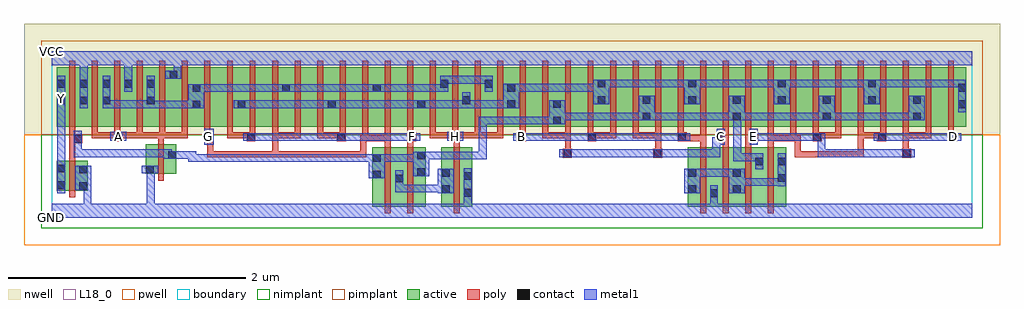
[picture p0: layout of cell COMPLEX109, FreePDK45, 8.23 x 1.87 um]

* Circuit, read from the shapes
.subckt COMPLEX109 A B C D E F G GND H VCC Y
M1 GND n1 Y VSUBS nfet w=0.25u l=0.05u
M2 n1 A GND VSUBS nfet w=0.25u l=0.05u
M3 n2 G n1 VSUBS nfet w=0.5u l=0.05u
M4 n1 F n2 VSUBS nfet w=0.5u l=0.05u
M5 GND H n2 VSUBS nfet w=0.5u l=0.05u
M6 GND B n3 VSUBS nfet w=0.5u l=0.05u
M7 n3 C GND VSUBS nfet w=0.5u l=0.05u
M8 n1 E n3 VSUBS nfet w=0.5u l=0.05u
M9 n3 D n1 VSUBS nfet w=0.5u l=0.05u
M10 VCC n1 Y n4 pfet w=0.5u l=0.05u
M11 n5 A VCC n4 pfet w=0.5u l=0.05u m=5
M12 n6 G n5 n4 pfet w=0.5u l=0.05u
M13 n7 F n6 n4 pfet w=0.5u l=0.05u
M14 n8 F n7 n4 pfet w=0.5u l=0.05u
M15 n5 G n8 n4 pfet w=0.5u l=0.05u
M16 n9 G n5 n4 pfet w=0.5u l=0.05u
M17 n7 F n9 n4 pfet w=0.5u l=0.05u
M18 n10 F n7 n4 pfet w=0.5u l=0.05u
M19 n5 G n10 n4 pfet w=0.5u l=0.05u
M20 n11 G n5 n4 pfet w=0.5u l=0.05u
M21 n7 F n11 n4 pfet w=0.5u l=0.05u
M22 n5 H n7 n4 pfet w=0.5u l=0.05u m=4
M23 n12 B n7 n4 pfet w=0.5u l=0.05u
M24 n1 C n12 n4 pfet w=0.5u l=0.05u
M25 n13 C n1 n4 pfet w=0.5u l=0.05u
M26 n7 B n13 n4 pfet w=0.5u l=0.05u
M27 n14 B n7 n4 pfet w=0.5u l=0.05u
M28 n1 C n14 n4 pfet w=0.5u l=0.05u
M29 n15 C n1 n4 pfet w=0.5u l=0.05u
M30 n7 B n15 n4 pfet w=0.5u l=0.05u
M31 n16 B n7 n4 pfet w=0.5u l=0.05u
M32 n1 C n16 n4 pfet w=0.5u l=0.05u
M33 n17 E n1 n4 pfet w=0.5u l=0.05u
M34 n7 D n17 n4 pfet w=0.5u l=0.05u
M35 n18 D n7 n4 pfet w=0.5u l=0.05u
M36 n1 E n18 n4 pfet w=0.5u l=0.05u
M37 n19 E n1 n4 pfet w=0.5u l=0.05u
M38 n7 D n19 n4 pfet w=0.5u l=0.05u
M39 n20 D n7 n4 pfet w=0.5u l=0.05u
M40 n1 E n20 n4 pfet w=0.5u l=0.05u
M41 n21 E n1 n4 pfet w=0.5u l=0.05u
M42 n7 D n21 n4 pfet w=0.5u l=0.05u
.ends

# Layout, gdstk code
import gdstk
lib = gdstk.Library(unit=1e-6, precision=1e-09)
def R(c, l, rs):  # rectangles x0, y0, x1, y1
    for r in rs: c.add(gdstk.rectangle(r[:2], r[2:], *l))
def A(c, l, x, y, w, h, nx, ny, dx, dy):  # array of equal rectangles
    R(c, l, [(x+i*dx, y+j*dy, x+i*dx+w, y+j*dy+h) for i in range(nx) for j in range(ny)])
active = (1, 0)
pwell = (2, 0)
nwell = (3, 0)
nimplant = (4, 0)
pimplant = (5, 0)
poly = (9, 0)
contact = (10, 0)
metal1 = (11, 0)
L18_0 = (18, 0)
boundary = (235, 0)

complex109 = lib.new_cell('COMPLEX109')
A(complex109, active, 5.547, 0.092, 0.265, 0.5, 3, 1, 0.19, 0)
A(complex109, active, 5.737, 0.145, 0.075, 0.447, 3, 1, 0.19, 0)
A(complex109, active, 4.977, 0.767, 0.075, 0.303, 4, 1, 0.76, 0)
A(complex109, active, 5.587, 0.767, 0.225, 0.5, 6, 1, 0.38, 0)
A(complex109, active, 5.737, 0.767, 0.23, 0.5, 5, 1, 0.38, 0)
A(complex109, active, 6.117, 0.767, 0.075, 0.433, 3, 1, 0.76, 0)
R(complex109, active, [(2.702,0.092,2.967,0.592), (2.892,0.092,3.152,0.592), (3.285,0.092,3.545,0.592), (5.362,0.092,5.622,0.592), (3.47,0.132,3.545,0.592), (5.547,0.132,5.622,0.592), (2.702,0.145,2.777,0.592), (2.892,0.145,2.967,0.592), (3.077,0.145,3.152,0.592), (3.285,0.145,3.36,0.592), (5.362,0.145,5.437,0.592), (0.042,0.227,0.302,0.477), (0.042,0.227,0.117,0.477), (0.227,0.227,0.302,0.477), (0.79,0.367,1.05,0.617), (0.79,0.367,0.865,0.617), (0.975,0.395,1.05,0.617), (0.042,0.767,0.307,1.267), (0.042,0.767,0.117,1.2), (0.232,0.767,0.497,1.267), (0.232,0.767,0.307,1.267), (0.422,0.767,0.682,1.267), (0.422,0.767,0.497,1.2), (0.607,0.767,0.872,1.267), (0.607,0.767,0.682,1.267), (0.797,0.767,1.062,1.267), (0.797,0.767,0.872,1.2), (0.987,0.767,1.257,1.267), (0.987,0.767,1.062,1.267), (1.182,0.767,1.257,1.2), (1.182,0.767,1.407,1.267), (1.407,0.767,1.637,1.267), (1.562,0.767,1.787,1.267), (1.562,0.767,1.637,1.07), (1.787,0.767,2.012,1.267), (1.937,0.767,2.012,1.2), (1.937,0.767,2.167,1.267), (2.167,0.767,2.397,1.267), (2.322,0.767,2.547,1.267), (2.322,0.767,2.397,1.07), (2.547,0.767,2.777,1.267), (2.702,0.767,2.777,1.2), (2.702,0.767,2.927,1.267), (2.927,0.767,3.152,1.267), (3.077,0.767,3.152,1.07), (3.077,0.767,3.347,1.267), (3.272,0.767,3.532,1.267), (3.457,0.767,3.722,1.267), (3.457,0.767,3.532,1.07), (3.647,0.767,3.912,1.267), (3.647,0.767,3.722,1.2), (3.837,0.767,3.912,1.2), (3.837,0.767,4.067,1.267), (4.067,0.767,4.297,1.267), (4.222,0.767,4.447,1.267), (4.222,0.767,4.297,1.07), (4.447,0.767,4.672,1.267), (4.597,0.767,4.672,1.2), (4.597,0.767,4.827,1.267), (4.827,0.767,5.052,1.267), (4.977,0.767,5.207,1.267), (5.207,0.767,5.437,1.267), (5.362,0.767,5.437,1.2), (5.362,0.767,5.587,1.267), (3.272,0.807,3.347,1.2)])
R(complex109, pwell, [(-0.235,-0.235,7.995,0.7)])
R(complex109, nwell, [(-0.235,0.7,7.995,1.635)])
R(complex109, nimplant, [(-0.09,-0.09,7.85,0.7)])
R(complex109, pimplant, [(-0.09,0.7,7.85,1.49)])
A(complex109, poly, 5.467, 0.037, 0.05, 0.61, 4, 1, 0.19, 0)
A(complex109, poly, 5.467, 0.597, 0.05, 0.095, 4, 1, 0.19, 0)
A(complex109, poly, 0.337, 0.667, 0.05, 0.095, 12, 1, 0.19, 0)
A(complex109, poly, 2.997, 0.667, 0.05, 0.095, 13, 1, 0.19, 0)
A(complex109, poly, 6.417, 0.667, 0.05, 0.095, 7, 1, 0.19, 0)
A(complex109, poly, 0.147, 0.712, 0.05, 0.61, 40, 1, 0.19, 0)
R(complex109, poly, [(2.807,0.037,2.857,0.647), (2.997,0.037,3.047,0.647), (3.39,0.037,3.44,0.647), (0.147,0.172,0.197,0.532), (0.895,0.312,0.945,0.672), (0.147,0.482,0.197,0.677), (4.31,0.505,4.385,0.58), (5.07,0.505,5.145,0.58), (7.17,0.505,7.245,0.58), (1.312,0.51,1.362,0.56), (1.312,0.51,1.362,0.56), (1.312,0.51,1.362,0.56), (1.312,0.51,1.362,0.56), (1.312,0.51,1.362,0.56), (1.312,0.51,1.362,0.692), (1.312,0.51,1.495,0.56), (1.445,0.51,1.495,0.56), (1.445,0.51,1.495,0.56), (1.445,0.51,1.495,0.56), (1.445,0.51,1.775,0.56), (1.725,0.51,1.775,0.56), (1.725,0.51,1.775,0.56), (1.725,0.51,1.775,0.56), (1.725,0.51,1.907,0.56), (1.857,0.51,1.907,0.56), (1.857,0.51,1.907,0.56), (1.857,0.51,1.907,0.56), (1.857,0.51,1.907,0.56), (1.857,0.51,1.907,0.56), (1.857,0.51,1.907,0.717), (1.857,0.51,2.09,0.56), (2.04,0.51,2.09,0.56), (2.04,0.51,2.09,0.56), (2.04,0.51,2.09,0.56), (2.04,0.51,2.222,0.56), (2.172,0.51,2.222,0.56), (2.172,0.51,2.42,0.56), (2.37,0.51,2.42,0.56), (2.37,0.51,2.42,0.56), (2.37,0.51,2.42,0.56), (2.37,0.51,2.652,0.56), (2.602,0.51,2.652,0.56), (2.602,0.51,2.652,0.56), (2.602,0.51,2.652,0.56), (2.602,0.51,2.652,0.692), (6.265,0.51,6.447,0.56), (6.265,0.51,6.315,0.692), (6.397,0.51,6.447,0.56), (6.397,0.51,6.447,0.56), (6.397,0.51,6.447,0.56), (6.397,0.51,6.715,0.56), (6.665,0.51,6.715,0.56), (6.665,0.51,6.847,0.56), (6.797,0.51,6.847,0.56), (6.797,0.51,6.847,0.56), (6.797,0.51,6.847,0.56), (6.797,0.51,6.847,0.717), (4.327,0.53,4.377,0.717), (5.087,0.53,5.137,0.717), (7.177,0.53,7.227,0.58), (7.177,0.53,7.227,0.58), (7.177,0.53,7.227,0.717), (2.807,0.597,2.857,0.692), (2.997,0.597,3.047,0.692), (3.39,0.597,3.44,0.692), (0.895,0.622,0.945,0.717), (0.147,0.627,0.255,0.702), (0.522,0.642,0.597,0.717), (1.287,0.642,1.362,0.717), (1.642,0.642,1.717,0.717), (2.402,0.642,2.477,0.717), (2.602,0.642,2.652,0.692), (2.602,0.642,2.652,0.692), (2.602,0.642,2.667,0.692), (2.617,0.642,2.857,0.692), (2.617,0.642,2.667,0.762), (2.807,0.642,2.857,0.692), (2.807,0.642,2.857,0.692), (2.807,0.642,2.857,0.692), (2.807,0.642,2.857,0.762), (2.997,0.642,3.072,0.717), (3.362,0.642,3.44,0.717), (3.922,0.642,3.997,0.717), (4.517,0.642,4.592,0.717), (5.277,0.642,5.352,0.717), (5.302,0.642,5.352,0.692), (5.302,0.642,5.352,0.692), (5.302,0.642,5.517,0.692), (5.467,0.642,5.517,0.692), (5.467,0.642,5.517,0.762), (5.605,0.642,5.707,0.717), (5.847,0.642,5.955,0.717), (6.037,0.642,6.087,0.692), (6.037,0.642,6.087,0.692), (6.037,0.642,6.087,0.692), (6.037,0.642,6.277,0.692), (6.037,0.642,6.087,0.762), (6.227,0.642,6.277,0.692), (6.227,0.642,6.277,0.692), (6.227,0.642,6.277,0.692), (6.227,0.642,6.277,0.692), (6.227,0.642,6.277,0.692), (6.227,0.642,6.315,0.692), (6.227,0.642,6.277,0.762), (6.417,0.642,6.492,0.717), (6.962,0.642,7.037,0.717), (7.557,0.642,7.632,0.717), (0.147,0.652,0.197,0.762), (0.337,0.667,0.387,0.717), (0.337,0.667,0.387,0.717), (0.337,0.667,0.387,0.717), (0.337,0.667,0.572,0.717), (0.547,0.667,0.597,0.717), (0.547,0.667,0.597,0.717), (0.547,0.667,0.767,0.717), (0.717,0.667,0.767,0.717), (0.717,0.667,0.767,0.717), (0.717,0.667,0.767,0.717), (0.717,0.667,0.945,0.717), (0.895,0.667,0.957,0.717), (0.907,0.667,0.957,0.717), (0.907,0.667,0.957,0.717), (0.907,0.667,1.147,0.717), (1.097,0.667,1.147,0.717), (1.477,0.667,1.527,0.717), (1.477,0.667,1.527,0.717), (1.477,0.667,1.527,0.717), (1.477,0.667,1.692,0.717), (1.857,0.667,1.907,0.717), (1.857,0.667,1.957,0.717), (1.907,0.667,1.957,0.717), (1.907,0.667,2.097,0.717), (2.047,0.667,2.097,0.717), (2.237,0.667,2.287,0.717), (2.237,0.667,2.287,0.717), (2.237,0.667,2.287,0.717), (2.237,0.667,2.452,0.717), (3.187,0.667,3.237,0.717), (3.187,0.667,3.237,0.717), (3.187,0.667,3.237,0.717), (3.187,0.667,3.412,0.717), (3.39,0.667,3.617,0.717), (3.567,0.667,3.617,0.717), (3.567,0.667,3.617,0.717), (3.567,0.667,3.617,0.717), (3.567,0.667,3.807,0.717), (3.757,0.667,3.807,0.717), (3.757,0.667,3.807,0.717), (3.757,0.667,3.807,0.717), (4.137,0.667,4.187,0.717), (4.137,0.667,4.377,0.717), (4.327,0.667,4.377,0.717), (4.327,0.667,4.377,0.717), (4.327,0.667,4.377,0.717), (4.327,0.667,4.377,0.717), (4.327,0.667,4.377,0.717), (4.542,0.667,4.757,0.717), (4.707,0.667,4.757,0.717), (4.707,0.667,4.757,0.717), (4.707,0.667,4.757,0.717), (4.897,0.667,4.947,0.717), (4.897,0.667,4.947,0.717), (4.897,0.667,4.947,0.717), (4.897,0.667,5.137,0.717), (5.087,0.667,5.137,0.717), (5.087,0.667,5.137,0.717), (5.087,0.667,5.137,0.717), (5.657,0.667,5.707,0.762), (5.847,0.667,5.897,0.762), (6.442,0.667,6.657,0.717), (6.607,0.667,6.657,0.717), (6.607,0.667,6.657,0.717), (6.607,0.667,6.657,0.717), (6.797,0.667,6.847,0.717), (6.797,0.667,6.847,0.717), (6.797,0.667,6.847,0.717), (6.797,0.667,7.012,0.717), (6.962,0.667,7.012,0.717), (6.962,0.667,7.012,0.717), (7.177,0.667,7.227,0.717), (7.177,0.667,7.417,0.717), (7.367,0.667,7.417,0.717), (7.367,0.667,7.417,0.717), (7.367,0.667,7.417,0.717)])
A(complex109, contact, 4.982, 0.82, 0.065, 0.065, 4, 2, 0.76, 0.14)
A(complex109, contact, 0.047, 0.955, 0.065, 0.065, 3, 2, 0.19, 0.14)
R(complex109, contact, [(5.552,0.172,5.617,0.237), (3.475,0.177,3.54,0.242), (3.29,0.205,3.355,0.27), (5.367,0.205,5.432,0.27), (5.742,0.205,5.807,0.27), (0.232,0.232,0.297,0.297), (0.047,0.24,0.112,0.305), (2.897,0.297,2.962,0.362), (6.122,0.3,6.187,0.365), (3.475,0.317,3.54,0.382), (2.707,0.33,2.772,0.395), (3.29,0.345,3.355,0.41), (5.367,0.345,5.432,0.41), (5.742,0.345,5.807,0.41), (3.082,0.35,3.147,0.415), (0.232,0.372,0.297,0.437), (0.795,0.372,0.86,0.437), (0.047,0.38,0.112,0.445), (5.932,0.44,5.997,0.505), (6.122,0.44,6.187,0.505), (2.707,0.47,2.772,0.535), (3.082,0.49,3.147,0.555), (0.98,0.495,1.045,0.56), (4.315,0.51,4.38,0.575), (5.075,0.51,5.14,0.575), (7.175,0.51,7.24,0.575), (0.185,0.632,0.25,0.697), (0.527,0.647,0.592,0.712), (1.292,0.647,1.357,0.712), (1.647,0.647,1.712,0.712), (2.407,0.647,2.472,0.712), (3.002,0.647,3.067,0.712), (3.367,0.647,3.432,0.712), (3.927,0.647,3.992,0.712), (4.522,0.647,4.587,0.712), (5.282,0.647,5.347,0.712), (5.61,0.647,5.675,0.712), (5.885,0.647,5.95,0.712), (6.422,0.647,6.487,0.712), (6.967,0.647,7.032,0.712), (7.562,0.647,7.627,0.712), (4.227,0.785,4.292,0.85), (1.187,0.92,1.252,0.985), (1.567,0.922,1.632,0.987), (2.327,0.922,2.392,0.987), (3.082,0.922,3.147,0.987), (3.842,0.922,3.907,0.987), (7.642,0.922,7.707,0.987), (4.227,0.925,4.292,0.99), (0.802,0.955,0.867,1.02), (3.462,0.957,3.527,1.022), (4.602,0.957,4.667,1.022), (5.367,0.957,5.432,1.022), (6.122,0.957,6.187,1.022), (6.882,0.957,6.947,1.022), (1.187,1.06,1.252,1.125), (1.942,1.06,2.007,1.125), (2.707,1.06,2.772,1.125), (3.842,1.062,3.907,1.127), (7.642,1.062,7.707,1.127), (0.612,1.095,0.677,1.16), (0.802,1.095,0.867,1.16), (3.277,1.095,3.342,1.16), (3.652,1.095,3.717,1.16), (4.602,1.097,4.667,1.162), (5.367,1.097,5.432,1.162), (6.122,1.097,6.187,1.162), (6.882,1.097,6.947,1.162), (0.992,1.172,1.057,1.237)])
A(complex109, metal1, 4.947, 0.82, 0.135, 0.205, 4, 1, 0.76, 0)
A(complex109, metal1, 0.047, 0.92, 0.065, 0.275, 3, 1, 0.19, 0)
R(complex109, metal1, [(0,0,7.76,0.115), (0.267,0.05,0.332,0.115), (0.267,0.05,0.332,0.115), (0.267,0.05,0.332,0.115), (0.267,0.05,0.332,0.115), (0.267,0.05,0.332,0.115), (0.267,0.05,0.332,0.115), (0.267,0.05,0.332,0.297), (0.802,0.05,0.867,0.115), (0.802,0.05,0.867,0.115), (0.802,0.05,0.867,0.115), (0.802,0.05,0.867,0.115), (0.802,0.05,0.867,0.437), (3.475,0.05,3.54,0.207), (5.552,0.05,5.617,0.202), (5.552,0.137,5.617,0.202), (5.552,0.137,5.617,0.202), (5.552,0.137,5.617,0.272), (3.475,0.142,3.54,0.207), (3.475,0.142,3.54,0.207), (3.475,0.142,3.54,0.417), (0.047,0.205,0.112,0.48), (3.255,0.205,3.39,0.41), (5.332,0.205,5.467,0.41), (5.707,0.205,5.842,0.41), (2.897,0.212,3.182,0.277), (2.897,0.212,2.962,0.327), (3.117,0.212,3.182,0.277), (3.117,0.212,3.25,0.277), (3.185,0.212,3.25,0.277), (3.185,0.212,3.32,0.277), (0.197,0.232,0.332,0.437), (2.897,0.262,2.962,0.327), (2.897,0.262,2.962,0.397), (6.122,0.265,6.187,0.54), (5.777,0.267,5.98,0.332), (5.915,0.267,5.98,0.332), (5.915,0.267,5.98,0.332), (5.915,0.267,5.98,0.332), (5.915,0.267,6.157,0.332), (6.092,0.267,6.157,0.332), (6.092,0.267,6.187,0.332), (2.672,0.33,2.807,0.535), (5.402,0.345,5.467,0.41), (5.402,0.345,5.467,0.41), (5.402,0.345,5.605,0.41), (5.54,0.345,5.605,0.41), (5.54,0.345,5.605,0.41), (5.54,0.345,5.605,0.41), (5.54,0.345,5.772,0.41), (3.047,0.35,3.182,0.555), (0.76,0.372,0.895,0.437), (0.802,0.372,0.867,0.437), (0.802,0.372,0.867,0.437), (5.932,0.405,5.997,0.54), (0.047,0.415,0.112,0.48), (0.047,0.415,0.112,0.48), (0.047,0.415,0.112,0.985), (1.152,0.47,1.217,0.535), (1.152,0.47,1.217,0.535), (1.152,0.47,1.217,0.535), (1.152,0.47,1.287,0.535), (1.152,0.47,1.217,0.56), (1.222,0.47,1.287,0.535), (1.222,0.47,1.46,0.535), (1.395,0.47,1.46,0.535), (1.395,0.47,1.46,0.535), (1.395,0.47,1.46,0.535), (1.395,0.47,1.667,0.535), (1.602,0.47,1.667,0.535), (1.602,0.47,1.805,0.535), (1.74,0.47,1.805,0.535), (1.74,0.47,1.805,0.535), (1.74,0.47,1.805,0.535), (1.74,0.47,1.945,0.535), (1.88,0.47,1.945,0.535), (1.88,0.47,1.945,0.535), (1.88,0.47,1.945,0.535), (1.88,0.47,2.082,0.535), (2.017,0.47,2.082,0.535), (2.017,0.47,2.22,0.535), (2.155,0.47,2.22,0.535), (2.155,0.47,2.22,0.535), (2.155,0.47,2.22,0.535), (2.155,0.47,2.357,0.535), (2.292,0.47,2.357,0.535), (2.292,0.47,2.357,0.535), (2.292,0.47,2.357,0.535), (2.292,0.47,2.575,0.535), (2.51,0.47,2.575,0.535), (2.51,0.47,2.645,0.535), (2.58,0.47,2.645,0.535), (2.58,0.47,2.737,0.535), (2.742,0.47,2.807,0.535), (2.742,0.47,2.807,0.535), (2.742,0.47,2.945,0.535), (2.88,0.47,2.945,0.535), (2.88,0.47,2.945,0.535), (2.88,0.47,2.945,0.535), (2.88,0.47,3.112,0.535), (5.747,0.475,5.812,0.54), (5.747,0.475,5.997,0.54), (5.747,0.475,5.812,0.885), (5.932,0.475,5.997,0.54), (5.932,0.475,5.997,0.54), (3.117,0.49,3.25,0.555), (3.185,0.49,3.25,0.555), (3.185,0.49,3.39,0.555), (3.325,0.49,3.39,0.555), (3.325,0.49,3.39,0.555), (3.325,0.49,3.39,0.555), (3.325,0.49,3.527,0.555), (3.462,0.49,3.527,0.555), (3.462,0.49,3.527,0.555), (3.462,0.49,3.527,0.555), (3.462,0.49,3.665,0.555), (3.6,0.49,3.665,0.555), (3.6,0.49,3.665,0.85), (0.945,0.495,1.01,0.56), (0.945,0.495,1.08,0.56), (0.945,0.495,1.01,0.575), (1.015,0.495,1.15,0.56), (1.085,0.495,1.15,0.56), (1.085,0.495,1.217,0.56), (1.152,0.495,1.217,0.56), (0.185,0.51,0.25,0.575), (0.185,0.51,0.412,0.575), (0.185,0.51,0.25,0.662), (0.347,0.51,0.412,0.575), (0.347,0.51,0.412,0.575), (0.347,0.51,0.412,0.575), (0.347,0.51,0.55,0.575), (0.485,0.51,0.55,0.575), (0.485,0.51,0.687,0.575), (0.622,0.51,0.687,0.575), (0.622,0.51,0.687,0.575), (0.622,0.51,0.687,0.575), (0.622,0.51,0.825,0.575), (0.76,0.51,0.825,0.575), (0.76,0.51,1.01,0.575), (4.28,0.51,4.415,0.575), (4.35,0.51,4.485,0.575), (4.42,0.51,4.485,0.575), (4.42,0.51,4.622,0.575), (4.557,0.51,4.622,0.575), (4.557,0.51,4.622,0.575), (4.557,0.51,4.622,0.575), (4.557,0.51,4.77,0.575), (4.705,0.51,4.77,0.575), (4.705,0.51,4.84,0.575), (4.775,0.51,4.84,0.575), (4.775,0.51,4.907,0.575), (4.842,0.51,4.907,0.575), (4.842,0.51,5.105,0.575), (5.04,0.51,5.105,0.575), (5.04,0.51,5.105,0.575), (5.04,0.51,5.175,0.575), (5.11,0.51,5.26,0.575), (5.195,0.51,5.26,0.575), (5.195,0.51,5.26,0.575), (5.195,0.51,5.26,0.575), (5.195,0.51,5.312,0.575), (5.247,0.51,5.312,0.575), (5.247,0.51,5.467,0.575), (5.402,0.51,5.467,0.575), (5.402,0.51,5.467,0.575), (5.402,0.51,5.467,0.575), (5.402,0.51,5.635,0.575), (5.57,0.51,5.635,0.575), (5.57,0.51,5.635,0.677), (6.457,0.51,6.522,0.575), (6.457,0.51,6.67,0.575), (6.457,0.51,6.522,0.712), (6.605,0.51,6.67,0.575), (6.605,0.51,6.74,0.575), (6.675,0.51,6.74,0.575), (6.675,0.51,6.845,0.575), (6.78,0.51,6.845,0.575), (6.78,0.51,7.017,0.575), (6.952,0.51,7.017,0.575), (6.952,0.51,7.017,0.575), (6.952,0.51,7.017,0.575), (6.952,0.51,7.017,0.575), (6.952,0.51,7.017,0.575), (6.952,0.51,7.155,0.575), (7.09,0.51,7.155,0.575), (7.09,0.51,7.205,0.575), (7.14,0.51,7.275,0.575), (0.185,0.597,0.25,0.662), (0.185,0.597,0.25,0.662), (0.185,0.597,0.25,0.732), (1.287,0.612,1.367,0.747), (5.57,0.612,5.635,0.677), (5.57,0.612,5.672,0.677), (5.607,0.612,5.675,0.747), (5.885,0.612,5.952,0.747), (0.492,0.647,0.627,0.725), (1.612,0.647,1.747,0.712), (1.682,0.647,1.805,0.712), (1.74,0.647,1.805,0.712), (1.74,0.647,1.942,0.712), (1.877,0.647,1.942,0.712), (1.877,0.647,2.082,0.712), (2.017,0.647,2.082,0.712), (2.017,0.647,2.082,0.712), (2.017,0.647,2.082,0.712), (2.017,0.647,2.22,0.712), (2.155,0.647,2.22,0.712), (2.155,0.647,2.22,0.712), (2.155,0.647,2.22,0.712), (2.155,0.647,2.437,0.712), (2.372,0.647,2.437,0.712), (2.372,0.647,2.437,0.712), (2.372,0.647,2.507,0.712), (2.442,0.647,2.6,0.712), (2.535,0.647,2.6,0.712), (2.535,0.647,2.645,0.712), (2.58,0.647,2.645,0.712), (2.58,0.647,2.782,0.712), (2.717,0.647,2.782,0.712), (2.717,0.647,2.782,0.712), (2.717,0.647,2.782,0.712), (2.717,0.647,2.945,0.712), (2.88,0.647,2.945,0.712), (2.88,0.647,3.032,0.712), (2.967,0.647,3.107,0.712), (3.332,0.647,3.467,0.725), (3.892,0.647,4.027,0.712), (3.962,0.647,4.08,0.712), (4.015,0.647,4.08,0.712), (4.015,0.647,4.19,0.712), (4.125,0.647,4.19,0.712), (4.125,0.647,4.327,0.712), (4.262,0.647,4.327,0.712), (4.262,0.647,4.327,0.712), (4.262,0.647,4.327,0.712), (4.262,0.647,4.485,0.712), (4.42,0.647,4.485,0.712), (4.42,0.647,4.552,0.712), (4.487,0.647,4.622,0.712), (4.557,0.647,4.622,0.712), (4.557,0.647,4.622,0.712), (4.557,0.647,4.77,0.712), (4.705,0.647,4.77,0.712), (4.705,0.647,4.875,0.712), (4.81,0.647,4.875,0.712), (4.81,0.647,4.907,0.712), (4.842,0.647,4.907,0.712), (4.842,0.647,5.045,0.712), (4.98,0.647,5.045,0.712), (4.98,0.647,5.045,0.712), (4.98,0.647,5.045,0.712), (4.98,0.647,5.26,0.712), (5.195,0.647,5.26,0.712), (5.195,0.647,5.312,0.712), (5.247,0.647,5.382,0.712), (5.887,0.647,5.98,0.712), (5.915,0.647,5.98,0.712), (5.915,0.647,6.135,0.712), (6.07,0.647,6.135,0.712), (6.07,0.647,6.135,0.712), (6.07,0.647,6.135,0.712), (6.07,0.647,6.315,0.712), (6.25,0.647,6.315,0.712), (6.25,0.647,6.36,0.712), (6.295,0.647,6.36,0.712), (6.295,0.647,6.452,0.712), (6.387,0.647,6.522,0.712), (6.457,0.647,6.522,0.712), (6.457,0.647,6.522,0.712), (6.932,0.647,7.067,0.712), (7.002,0.647,7.155,0.712), (7.09,0.647,7.155,0.712), (7.09,0.647,7.317,0.712), (7.252,0.647,7.317,0.712), (7.252,0.647,7.317,0.712), (7.252,0.647,7.317,0.712), (7.252,0.647,7.455,0.712), (7.39,0.647,7.455,0.712), (7.39,0.647,7.455,0.712), (7.39,0.647,7.455,0.712), (7.39,0.647,7.592,0.712), (7.527,0.647,7.667,0.712), (3.6,0.785,3.665,0.85), (3.6,0.785,3.805,0.85), (3.74,0.785,3.805,0.85), (3.74,0.785,3.805,0.85), (3.74,0.785,3.805,0.85), (3.74,0.785,3.805,0.85), (3.74,0.785,3.805,0.85), (3.74,0.785,3.805,0.85), (3.74,0.785,3.805,0.85), (3.74,0.785,3.805,0.85), (3.74,0.785,3.805,0.85), (3.74,0.785,4.027,0.85), (3.962,0.785,4.027,0.85), (3.962,0.785,4.08,0.85), (4.015,0.785,4.08,0.85), (4.015,0.785,4.165,0.85), (4.1,0.785,4.165,0.85), (4.1,0.785,4.257,0.85), (4.192,0.785,4.327,0.99), (4.262,0.82,4.327,0.885), (4.262,0.82,4.327,0.885), (4.262,0.82,4.485,0.885), (4.42,0.82,4.485,0.885), (4.42,0.82,4.632,0.885), (4.567,0.82,4.632,0.885), (4.567,0.82,4.632,0.885), (4.567,0.82,4.632,0.885), (4.567,0.82,4.77,0.885), (4.705,0.82,4.77,0.885), (4.705,0.82,4.875,0.885), (4.81,0.82,4.875,0.885), (4.81,0.82,4.907,0.885), (4.842,0.82,4.907,0.885), (4.842,0.82,5.012,0.885), (5.017,0.82,5.082,0.885), (5.017,0.82,5.082,0.885), (5.017,0.82,5.242,0.885), (5.177,0.82,5.242,0.885), (5.177,0.82,5.33,0.885), (5.265,0.82,5.33,0.885), (5.265,0.82,5.467,0.885), (5.402,0.82,5.467,0.885), (5.402,0.82,5.467,0.885), (5.402,0.82,5.467,0.885), (5.402,0.82,5.605,0.885), (5.54,0.82,5.605,0.885), (5.54,0.82,5.605,0.885), (5.54,0.82,5.605,0.885), (5.54,0.82,5.772,0.885), (5.747,0.82,5.812,0.885), (5.747,0.82,5.812,0.885), (5.777,0.82,5.997,0.885), (5.932,0.82,5.997,0.885), (5.932,0.82,5.997,0.885), (5.932,0.82,5.997,0.885), (5.932,0.82,6.135,0.885), (6.07,0.82,6.135,0.885), (6.07,0.82,6.135,0.885), (6.07,0.82,6.135,0.885), (6.07,0.82,6.295,0.885), (6.23,0.82,6.295,0.885), (6.23,0.82,6.36,0.885), (6.295,0.82,6.36,0.885), (6.295,0.82,6.532,0.885), (6.467,0.82,6.532,0.885), (6.467,0.82,6.532,0.885), (6.537,0.82,6.67,0.885), (6.605,0.82,6.67,0.885), (6.605,0.82,6.775,0.885), (6.71,0.82,6.775,0.885), (6.71,0.82,6.807,0.885), (6.742,0.82,6.807,0.885), (6.742,0.82,7.017,0.885), (6.952,0.82,7.017,0.885), (6.952,0.82,7.017,0.885), (6.952,0.82,7.017,0.885), (6.952,0.82,7.155,0.885), (7.09,0.82,7.155,0.885), (7.09,0.82,7.292,0.885), (7.227,0.82,7.292,0.885), (7.227,0.82,7.292,0.885), (7.642,0.887,7.707,1.162), (0.802,0.92,0.867,1.195), (0.802,0.92,1.005,0.985), (0.94,0.92,1.005,0.985), (0.94,0.92,1.005,0.985), (0.94,0.92,1.005,0.985), (0.94,0.92,1.147,0.985), (1.082,0.92,1.147,0.985), (1.082,0.92,1.217,0.985), (1.152,0.92,1.287,1.125), (0.427,0.922,0.55,0.987), (0.485,0.922,0.55,0.987), (0.485,0.922,0.687,0.987), (0.622,0.922,0.687,0.987), (0.622,0.922,0.687,0.987), (0.622,0.922,0.687,0.987), (0.622,0.922,0.867,0.987), (1.532,0.922,1.667,0.987), (1.602,0.922,1.805,0.987), (1.74,0.922,1.805,0.987), (1.74,0.922,1.805,0.987), (1.74,0.922,1.805,0.987), (1.74,0.922,1.945,0.987), (1.88,0.922,1.945,0.987), (1.88,0.922,2.082,0.987), (2.017,0.922,2.082,0.987), (2.017,0.922,2.082,0.987), (2.017,0.922,2.082,0.987), (2.017,0.922,2.22,0.987), (2.155,0.922,2.22,0.987), (2.155,0.922,2.22,0.987), (2.155,0.922,2.22,0.987), (2.155,0.922,2.357,0.987), (2.292,0.922,2.427,0.987), (2.362,0.922,2.427,0.987), (2.362,0.922,2.427,0.987), (2.362,0.922,2.6,0.987), (2.535,0.922,2.6,0.987), (2.535,0.922,2.645,0.987), (2.58,0.922,2.645,0.987), (2.58,0.922,2.807,0.987), (2.742,0.922,2.807,0.987), (2.742,0.922,2.807,0.987), (2.742,0.922,2.807,0.987), (2.742,0.922,2.962,0.987), (2.897,0.922,2.962,0.987), (2.897,0.922,3.112,0.987), (3.047,0.922,3.112,0.987), (3.047,0.922,3.112,0.987), (3.047,0.922,3.182,0.987), (3.117,0.922,3.25,0.987), (3.185,0.922,3.25,0.987), (3.185,0.922,3.39,0.987), (3.325,0.922,3.39,0.987), (3.325,0.922,3.39,0.987), (3.325,0.922,3.39,0.987), (3.325,0.922,3.527,0.987), (3.462,0.922,3.527,0.987), (3.462,0.922,3.527,0.987), (3.462,0.922,3.527,1.057), (3.462,0.922,3.667,0.987), (3.602,0.922,3.667,0.987), (3.602,0.922,3.667,0.987), (3.602,0.922,3.667,0.987), (3.602,0.922,3.872,0.987), (3.807,0.922,3.942,1.127), (4.567,0.957,4.702,1.162), (5.332,0.957,5.467,1.162), (6.087,0.957,6.222,1.162), (6.847,0.957,6.982,1.162), (0.612,1.06,0.677,1.195), (1.222,1.06,1.287,1.125), (1.222,1.06,1.287,1.125), (1.222,1.06,1.452,1.125), (1.387,1.06,1.452,1.125), (1.387,1.06,1.452,1.125), (1.387,1.06,1.452,1.125), (1.387,1.06,1.452,1.125), (1.387,1.06,1.452,1.125), (1.387,1.06,1.667,1.125), (1.602,1.06,1.667,1.125), (1.602,1.06,1.805,1.125), (1.74,1.06,1.805,1.125), (1.74,1.06,1.805,1.125), (1.74,1.06,1.805,1.125), (1.74,1.06,1.945,1.125), (1.88,1.06,1.945,1.125), (1.88,1.06,1.972,1.125), (1.907,1.06,2.042,1.125), (1.977,1.06,2.082,1.125), (2.017,1.06,2.082,1.125), (2.017,1.06,2.22,1.125), (2.155,1.06,2.22,1.125), (2.155,1.06,2.22,1.125), (2.155,1.06,2.22,1.125), (2.155,1.06,2.357,1.125), (2.292,1.06,2.357,1.125), (2.292,1.06,2.357,1.125), (2.292,1.06,2.357,1.125), (2.292,1.06,2.575,1.125), (2.51,1.06,2.575,1.125), (2.51,1.06,2.645,1.125), (2.58,1.06,2.645,1.125), (2.58,1.06,2.737,1.125), (2.672,1.06,2.807,1.125), (2.742,1.06,2.807,1.125), (2.742,1.06,2.807,1.125), (2.742,1.06,2.962,1.125), (2.897,1.06,2.962,1.125), (2.897,1.06,2.962,1.125), (2.897,1.06,2.962,1.125), (2.897,1.06,3.1,1.125), (3.035,1.06,3.1,1.125), (3.035,1.06,3.25,1.125), (3.185,1.06,3.25,1.125), (3.185,1.06,3.342,1.125), (3.277,1.06,3.342,1.195), (3.652,1.06,3.717,1.195), (3.877,1.062,3.942,1.127), (3.877,1.062,3.942,1.127), (3.877,1.062,4.11,1.127), (4.045,1.062,4.11,1.127), (4.045,1.062,4.11,1.127), (4.045,1.062,4.11,1.127), (4.045,1.062,4.19,1.127), (4.125,1.062,4.19,1.127), (4.125,1.062,4.347,1.127), (4.282,1.062,4.347,1.127), (4.282,1.062,4.347,1.127), (4.282,1.062,4.347,1.127), (4.282,1.062,4.485,1.127), (4.42,1.062,4.485,1.127), (4.42,1.062,4.632,1.127), (4.567,1.062,4.632,1.127), (4.567,1.062,4.632,1.127), (4.637,1.097,4.77,1.162), (4.705,1.097,4.77,1.162), (4.705,1.097,4.84,1.162), (4.775,1.097,4.84,1.162), (4.775,1.097,4.907,1.162), (4.842,1.097,4.907,1.162), (4.842,1.097,5.045,1.162), (4.98,1.097,5.045,1.162), (4.98,1.097,5.045,1.162), (4.98,1.097,5.045,1.162), (4.98,1.097,5.242,1.162), (5.177,1.097,5.242,1.162), (5.177,1.097,5.33,1.162), (5.265,1.097,5.33,1.162), (5.265,1.097,5.397,1.162), (5.402,1.097,5.467,1.162), (5.402,1.097,5.467,1.162), (5.402,1.097,5.635,1.162), (5.57,1.097,5.635,1.162), (5.57,1.097,5.635,1.162), (5.57,1.097,5.635,1.162), (5.57,1.097,5.772,1.162), (5.707,1.097,5.772,1.162), (5.707,1.097,5.997,1.162), (5.932,1.097,5.997,1.162), (5.932,1.097,5.997,1.162), (5.932,1.097,5.997,1.162), (5.932,1.097,6.152,1.162), (6.087,1.097,6.152,1.162), (6.087,1.097,6.152,1.162), (6.157,1.097,6.315,1.162), (6.25,1.097,6.315,1.162), (6.25,1.097,6.36,1.162), (6.295,1.097,6.36,1.162), (6.295,1.097,6.497,1.162), (6.432,1.097,6.497,1.162), (6.432,1.097,6.497,1.162), (6.432,1.097,6.497,1.162), (6.432,1.097,6.67,1.162), (6.605,1.097,6.67,1.162), (6.605,1.097,6.775,1.162), (6.71,1.097,6.775,1.162), (6.71,1.097,6.845,1.162), (6.78,1.097,6.845,1.162), (6.78,1.097,6.912,1.162), (6.917,1.097,6.982,1.162), (6.917,1.097,6.982,1.162), (6.917,1.097,7.155,1.162), (7.09,1.097,7.155,1.162), (7.09,1.097,7.317,1.162), (7.252,1.097,7.317,1.162), (7.252,1.097,7.317,1.162), (7.252,1.097,7.317,1.162), (7.252,1.097,7.455,1.162), (7.39,1.097,7.455,1.162), (7.39,1.097,7.455,1.162), (7.39,1.097,7.455,1.162), (7.39,1.097,7.707,1.162), (7.642,1.097,7.707,1.162), (7.642,1.097,7.707,1.162), (0.237,1.13,0.302,1.35), (0.612,1.13,0.677,1.35), (3.277,1.13,3.387,1.195), (3.322,1.13,3.387,1.195), (3.322,1.13,3.527,1.195), (3.462,1.13,3.527,1.195), (3.462,1.13,3.527,1.195), (3.462,1.13,3.527,1.195), (3.462,1.13,3.717,1.195), (0.957,1.172,1.092,1.237), (1.027,1.172,1.092,1.35), (0,1.285,7.76,1.4)])
R(complex109, L18_0, [(0,0,7.76,0.115), (0.267,0.05,0.332,0.115), (0.267,0.05,0.332,0.115), (0.267,0.05,0.332,0.115), (0.267,0.05,0.332,0.115), (0.267,0.05,0.332,0.115), (0.267,0.05,0.332,0.115), (0.267,0.05,0.332,0.297), (0.802,0.05,0.867,0.115), (0.802,0.05,0.867,0.115), (0.802,0.05,0.867,0.115), (0.802,0.05,0.867,0.115), (0.802,0.05,0.867,0.437), (3.475,0.05,3.54,0.207), (5.552,0.05,5.617,0.202), (5.552,0.137,5.617,0.202), (5.552,0.137,5.617,0.202), (5.552,0.137,5.617,0.272), (3.475,0.142,3.54,0.417), (3.475,0.142,3.54,0.207), (3.475,0.142,3.54,0.207), (0.047,0.205,0.112,0.48), (0.197,0.232,0.332,0.437), (0.76,0.372,0.895,0.437), (0.802,0.372,0.867,0.437), (0.802,0.372,0.867,0.437), (0.047,0.415,0.112,0.48), (0.047,0.415,0.112,0.48), (0.047,0.415,0.112,0.985), (4.28,0.51,4.415,0.575), (4.35,0.51,4.485,0.575), (4.42,0.51,4.485,0.575), (4.42,0.51,4.622,0.575), (4.557,0.51,4.622,0.575), (4.557,0.51,4.622,0.575), (4.557,0.51,4.622,0.575), (4.557,0.51,4.77,0.575), (4.705,0.51,4.77,0.575), (4.705,0.51,4.84,0.575), (4.775,0.51,4.84,0.575), (4.775,0.51,4.907,0.575), (4.842,0.51,4.907,0.575), (4.842,0.51,5.105,0.575), (5.04,0.51,5.105,0.575), (5.04,0.51,5.105,0.575), (5.04,0.51,5.175,0.575), (5.11,0.51,5.26,0.575), (5.195,0.51,5.26,0.575), (5.195,0.51,5.26,0.575), (5.195,0.51,5.26,0.575), (5.195,0.51,5.312,0.575), (5.247,0.51,5.312,0.575), (5.247,0.51,5.467,0.575), (5.402,0.51,5.467,0.575), (5.402,0.51,5.467,0.575), (5.402,0.51,5.467,0.575), (5.402,0.51,5.635,0.575), (5.57,0.51,5.635,0.575), (5.57,0.51,5.635,0.677), (6.457,0.51,6.522,0.575), (6.457,0.51,6.67,0.575), (6.457,0.51,6.522,0.712), (6.605,0.51,6.67,0.575), (6.605,0.51,6.74,0.575), (6.675,0.51,6.74,0.575), (6.675,0.51,6.845,0.575), (6.78,0.51,6.845,0.575), (6.78,0.51,7.017,0.575), (6.952,0.51,7.017,0.575), (6.952,0.51,7.017,0.575), (6.952,0.51,7.017,0.575), (6.952,0.51,7.017,0.575), (6.952,0.51,7.017,0.575), (6.952,0.51,7.155,0.575), (7.09,0.51,7.155,0.575), (7.09,0.51,7.205,0.575), (7.14,0.51,7.275,0.575), (1.287,0.612,1.367,0.747), (5.57,0.612,5.635,0.677), (5.57,0.612,5.672,0.677), (5.607,0.612,5.675,0.747), (5.885,0.612,5.952,0.747), (0.492,0.647,0.627,0.725), (0.527,0.647,0.592,0.712), (1.287,0.647,1.352,0.712), (1.612,0.647,1.747,0.712), (1.682,0.647,1.805,0.712), (1.74,0.647,1.805,0.712), (1.74,0.647,1.942,0.712), (1.877,0.647,1.942,0.712), (1.877,0.647,2.082,0.712), (2.017,0.647,2.082,0.712), (2.017,0.647,2.082,0.712), (2.017,0.647,2.082,0.712), (2.017,0.647,2.22,0.712), (2.155,0.647,2.22,0.712), (2.155,0.647,2.22,0.712), (2.155,0.647,2.22,0.712), (2.155,0.647,2.437,0.712), (2.372,0.647,2.437,0.712), (2.372,0.647,2.437,0.712), (2.372,0.647,2.507,0.712), (2.442,0.647,2.6,0.712), (2.535,0.647,2.6,0.712), (2.535,0.647,2.645,0.712), (2.58,0.647,2.645,0.712), (2.58,0.647,2.782,0.712), (2.717,0.647,2.782,0.712), (2.717,0.647,2.782,0.712), (2.717,0.647,2.782,0.712), (2.717,0.647,2.945,0.712), (2.88,0.647,2.945,0.712), (2.88,0.647,3.032,0.712), (2.967,0.647,3.107,0.712), (3.007,0.647,3.072,0.712), (3.332,0.647,3.467,0.725), (3.367,0.647,3.432,0.712), (3.892,0.647,4.027,0.712), (3.927,0.647,3.992,0.712), (3.962,0.647,4.08,0.712), (4.015,0.647,4.08,0.712), (4.015,0.647,4.19,0.712), (4.125,0.647,4.19,0.712), (4.125,0.647,4.327,0.712), (4.262,0.647,4.327,0.712), (4.262,0.647,4.327,0.712), (4.262,0.647,4.327,0.712), (4.262,0.647,4.485,0.712), (4.42,0.647,4.485,0.712), (4.42,0.647,4.552,0.712), (4.487,0.647,4.622,0.712), (4.557,0.647,4.622,0.712), (4.557,0.647,4.622,0.712), (4.557,0.647,4.77,0.712), (4.705,0.647,4.77,0.712), (4.705,0.647,4.875,0.712), (4.81,0.647,4.875,0.712), (4.81,0.647,4.907,0.712), (4.842,0.647,4.907,0.712), (4.842,0.647,5.045,0.712), (4.98,0.647,5.045,0.712), (4.98,0.647,5.045,0.712), (4.98,0.647,5.045,0.712), (4.98,0.647,5.26,0.712), (5.195,0.647,5.26,0.712), (5.195,0.647,5.312,0.712), (5.247,0.647,5.382,0.712), (5.607,0.647,5.672,0.712), (5.887,0.647,5.952,0.712), (5.887,0.647,5.98,0.712), (5.915,0.647,5.98,0.712), (5.915,0.647,6.135,0.712), (6.07,0.647,6.135,0.712), (6.07,0.647,6.135,0.712), (6.07,0.647,6.135,0.712), (6.07,0.647,6.315,0.712), (6.25,0.647,6.315,0.712), (6.25,0.647,6.36,0.712), (6.295,0.647,6.36,0.712), (6.295,0.647,6.452,0.712), (6.387,0.647,6.522,0.712), (6.457,0.647,6.522,0.712), (6.457,0.647,6.522,0.712), (6.932,0.647,7.067,0.712), (7.002,0.647,7.155,0.712), (7.09,0.647,7.155,0.712), (7.09,0.647,7.317,0.712), (7.252,0.647,7.317,0.712), (7.252,0.647,7.317,0.712), (7.252,0.647,7.317,0.712), (7.252,0.647,7.455,0.712), (7.39,0.647,7.455,0.712), (7.39,0.647,7.455,0.712), (7.39,0.647,7.455,0.712), (7.39,0.647,7.592,0.712), (7.527,0.647,7.667,0.712), (7.567,0.647,7.632,0.712), (0.047,0.92,0.112,1.195), (0.237,0.92,0.302,1.195), (0.047,0.967,0.112,1.032), (0.612,1.06,0.677,1.195), (0.237,1.13,0.302,1.35), (0.612,1.13,0.677,1.35), (0.957,1.172,1.092,1.237), (1.027,1.172,1.092,1.35), (0,1.285,7.76,1.4)])
R(complex109, boundary, [(0,0,7.76,1.4)])
complex109.add(gdstk.Label('A', (0.56,0.68), layer=11, texttype=0))
complex109.add(gdstk.Label('B', (3.96,0.68), layer=11, texttype=0))
complex109.add(gdstk.Label('C', (5.64,0.68), layer=11, texttype=0))
complex109.add(gdstk.Label('D', (7.6,0.68), layer=11, texttype=0))
complex109.add(gdstk.Label('E', (5.92,0.68), layer=11, texttype=0))
complex109.add(gdstk.Label('F', (3.04,0.68), layer=11, texttype=0))
complex109.add(gdstk.Label('G', (1.32,0.68), layer=11, texttype=0))
complex109.add(gdstk.Label('H', (3.4,0.68), layer=11, texttype=0))
complex109.add(gdstk.Label('Y', (0.08,1), layer=11, texttype=0))
complex109.add(gdstk.Label('VCC', (0,1.4), layer=11, texttype=0))
complex109.add(gdstk.Label('GND', (0,0), layer=11, texttype=0))

lib.write_gds('COMPLEX109.gds')
